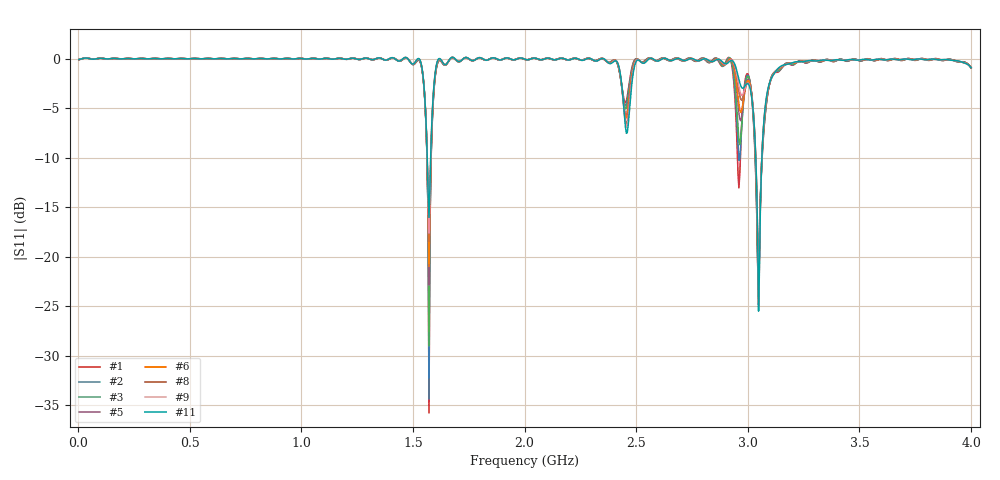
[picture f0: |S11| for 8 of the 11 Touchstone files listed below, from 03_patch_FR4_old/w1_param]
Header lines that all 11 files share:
! TOUCHSTONE file generated by CST MICROWAVE STUDIO
! Project name: AppElm_antenne_patch_FR4.cst
! Header version: 2018
! Port assignment regex: !\s*Touchstone port\s*([0-9]+)\s*=\s*(CST MWS port|CST DS port)\s*([0-9]+|Zmin|Zmax)\s*\(\"(.*)\"\)(\s*mode\s*([0-9]+))?.*
! Touchstone port assignment:
! Touchstone port 1 = CST MWS port 1 ("")
# GHz S MA R 50
Fixed: L = 45, W = 58.5, e = 0.035, h = 1.6, lambda = 0.190476, ls = 120, w0 = 1.6, ws = 120, y0 = 20, y1 = 23.81
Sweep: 4 MHz to 4 GHz
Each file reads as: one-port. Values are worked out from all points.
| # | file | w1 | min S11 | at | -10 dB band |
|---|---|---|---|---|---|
| 1 | AppElm_antenne_patch_FR4_1.s1p | 0.3998 | -35.8 dB | 1.572 GHz | 31.29 MHz wide |
| 2 | AppElm_antenne_patch_FR4_2.s1p | 0.42645 | -34.4 dB | 1.572 GHz | 30.4 MHz wide |
| 3 | AppElm_antenne_patch_FR4_3.s1p | 0.4531 | -29.0 dB | 1.572 GHz | 29.6 MHz wide |
| 4 | AppElm_antenne_patch_FR4_4.s1p | 0.47975 | -25.8 dB | 1.572 GHz | 28.97 MHz wide |
| 5 | AppElm_antenne_patch_FR4_5.s1p | 0.5064 | -24.0 dB | 3.048 GHz | 28.43 MHz wide |
| 6 | AppElm_antenne_patch_FR4_6.s1p | 0.53305 | -24.3 dB | 3.048 GHz | 28.04 MHz wide |
| 7 | AppElm_antenne_patch_FR4_7.s1p | 0.5597 | -24.6 dB | 3.048 GHz | 27.78 MHz wide |
| 8 | AppElm_antenne_patch_FR4_8.s1p | 0.58635 | -24.9 dB | 3.048 GHz | 27.61 MHz wide |
| 9 | AppElm_antenne_patch_FR4_9.s1p | 0.613 | -25.1 dB | 3.048 GHz | 27.53 MHz wide |
| 10 | AppElm_antenne_patch_FR4_10.s1p | 0.63965 | -25.3 dB | 3.048 GHz | 27.51 MHz wide |
| 11 | AppElm_antenne_patch_FR4_11.s1p | 0.6663 | -25.5 dB | 3.048 GHz | 27.56 MHz wide |
